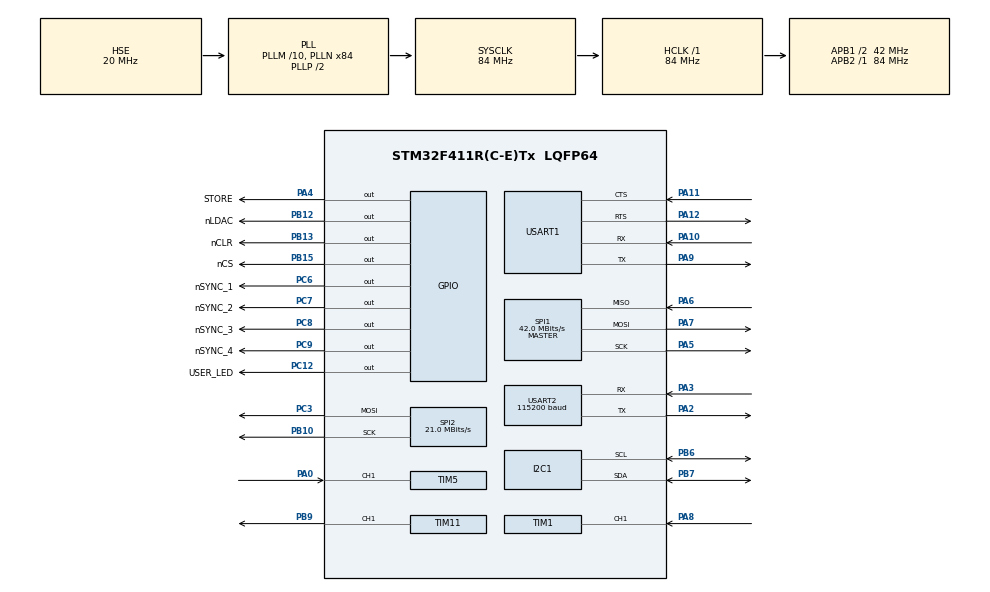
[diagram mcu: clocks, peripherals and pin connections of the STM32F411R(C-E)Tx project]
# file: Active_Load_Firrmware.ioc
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Dma.I2C1_RX.1.Direction=DMA_PERIPH_TO_MEMORY
Dma.I2C1_RX.1.FIFOMode=DMA_FIFOMODE_DISABLE
Dma.I2C1_RX.1.Instance=DMA1_Stream0
Dma.I2C1_RX.1.MemDataAlignment=DMA_MDATAALIGN_BYTE
Dma.I2C1_RX.1.MemInc=DMA_MINC_DISABLE
Dma.I2C1_RX.1.Mode=DMA_CIRCULAR
Dma.I2C1_RX.1.PeriphDataAlignment=DMA_PDATAALIGN_BYTE
Dma.I2C1_RX.1.PeriphInc=DMA_PINC_DISABLE
Dma.I2C1_RX.1.Priority=DMA_PRIORITY_MEDIUM
Dma.Request0=USART2_RX
Dma.Request1=I2C1_RX
Dma.Request2=USART1_RX
Dma.USART1_RX.2.Direction=DMA_PERIPH_TO_MEMORY
Dma.USART1_RX.2.FIFOMode=DMA_FIFOMODE_DISABLE
Dma.USART1_RX.2.Instance=DMA2_Stream2
Dma.USART1_RX.2.MemDataAlignment=DMA_MDATAALIGN_BYTE
Dma.USART1_RX.2.MemInc=DMA_MINC_ENABLE
Dma.USART1_RX.2.Mode=DMA_CIRCULAR
Dma.USART1_RX.2.PeriphDataAlignment=DMA_PDATAALIGN_BYTE
Dma.USART1_RX.2.PeriphInc=DMA_PINC_DISABLE
Dma.USART1_RX.2.Priority=DMA_PRIORITY_VERY_HIGH
Dma.USART2_RX.0.Direction=DMA_PERIPH_TO_MEMORY
Dma.USART2_RX.0.FIFOMode=DMA_FIFOMODE_DISABLE
Dma.USART2_RX.0.Instance=DMA1_Stream5
Dma.USART2_RX.0.MemDataAlignment=DMA_MDATAALIGN_BYTE
Dma.USART2_RX.0.MemInc=DMA_MINC_ENABLE
Dma.USART2_RX.0.Mode=DMA_CIRCULAR
Dma.USART2_RX.0.PeriphDataAlignment=DMA_PDATAALIGN_BYTE
Dma.USART2_RX.0.PeriphInc=DMA_PINC_DISABLE
Dma.USART2_RX.0.Priority=DMA_PRIORITY_VERY_HIGH
Mcu.Family=STM32F4
Mcu.Name=STM32F411R(C-E)Tx
Mcu.Package=LQFP64
NVIC.DMA1_Stream0_IRQn=true\:0\:0\:false\:false\:true
NVIC.DMA1_Stream5_IRQn=true\:0\:0\:false\:false\:true
NVIC.DMA2_Stream2_IRQn=true\:0\:0\:false\:false\:true
NVIC.PriorityGroup=NVIC_PRIORITYGROUP_4
NVIC.TIM1_BRK_TIM9_IRQn=true\:0\:0\:false\:false\:true
PA0-WKUP.Signal=S_TIM5_CH1
PA10.Mode=Asynchronous
PA10.Signal=USART1_RX
PA11.Mode=CTS_RTS
PA11.Signal=USART1_CTS
PA12.Mode=CTS_RTS
PA12.Signal=USART1_RTS
PA13.Mode=Serial_Wire
PA13.Signal=SYS_JTMS-SWDIO
PA14.Mode=Serial_Wire
PA14.Signal=SYS_JTCK-SWCLK
PA2.Mode=Asynchronous
PA2.Signal=USART2_TX
PA3.Mode=Asynchronous
PA3.Signal=USART2_RX
PA4.GPIO_Label=STORE
PA4.GPIO_Speed=GPIO_SPEED_FREQ_MEDIUM
PA4.Signal=GPIO_Output
PA5.Mode=Full_Duplex_Master
PA5.Signal=SPI1_SCK
PA6.Mode=Full_Duplex_Master
PA6.Signal=SPI1_MISO
PA7.Mode=Full_Duplex_Master
PA7.Signal=SPI1_MOSI
PA8.Signal=S_TIM1_CH1
PA9.Mode=Asynchronous
PA9.Signal=USART1_TX
PB10.Mode=TX_Only_Simplex_Unidirect_Master
PB10.Signal=SPI2_SCK
PB12.GPIO_Label=nLDAC
PB12.GPIO_Speed=GPIO_SPEED_FREQ_MEDIUM
PB12.Signal=GPIO_Output
PB13.GPIO_Label=nCLR
PB13.GPIO_Speed=GPIO_SPEED_FREQ_MEDIUM
PB13.Signal=GPIO_Output
PB15.GPIO_Label=nCS
PB15.GPIO_Speed=GPIO_SPEED_FREQ_MEDIUM
PB15.Signal=GPIO_Output
PB6.GPIO_PuPdOD=GPIO_NOPULL
PB6.GPIO_Speed=GPIO_SPEED_FREQ_MEDIUM
PB6.Mode=I2C
PB6.Signal=I2C1_SCL
PB7.GPIO_PuPdOD=GPIO_NOPULL
PB7.GPIO_Speed=GPIO_SPEED_FREQ_MEDIUM
PB7.Mode=I2C
PB7.Signal=I2C1_SDA
PB9.Signal=S_TIM11_CH1
PC12.GPIO_Label=USER_LED
PC12.GPIO_Speed=GPIO_SPEED_FREQ_MEDIUM
PC12.Signal=GPIO_Output
PC3.Mode=TX_Only_Simplex_Unidirect_Master
PC3.Signal=SPI2_MOSI
PC6.GPIO_Label=nSYNC_1
PC6.GPIO_Speed=GPIO_SPEED_FREQ_MEDIUM
PC6.Signal=GPIO_Output
PC7.GPIO_Label=nSYNC_2
PC7.GPIO_Speed=GPIO_SPEED_FREQ_MEDIUM
PC7.Signal=GPIO_Output
PC8.GPIO_Label=nSYNC_3
PC8.GPIO_Speed=GPIO_SPEED_FREQ_MEDIUM
PC8.Signal=GPIO_Output
PC9.GPIO_Label=nSYNC_4
PC9.GPIO_Speed=GPIO_SPEED_FREQ_MEDIUM
PC9.Signal=GPIO_Output
ProjectManager.HeapSize=0x200
ProjectManager.StackSize=0x400
ProjectManager.TargetToolchain=SW4STM32
RCC.48MHZClocksFreq_Value=42000000
RCC.AHBFreq_Value=84000000
RCC.APB1CLKDivider=RCC_HCLK_DIV2
RCC.APB1Freq_Value=42000000
RCC.APB1TimFreq_Value=84000000
RCC.APB2Freq_Value=84000000
RCC.APB2TimFreq_Value=84000000
RCC.CortexFreq_Value=84000000
RCC.HCLKFreq_Value=84000000
RCC.HSE_VALUE=20000000
RCC.HSI_VALUE=16000000
RCC.LSE_VALUE=32768
RCC.PLLM=8
RCC.PLLN=84
RCC.SYSCLKFreq_VALUE=84000000
RCC.SYSCLKSource=RCC_SYSCLKSOURCE_PLLCLK
RCC.VCOOutputFreq_Value=168000000
SH.S_TIM11_CH1.0=TIM11_CH1,PWM Generation1 CH1
SH.S_TIM1_CH1.0=TIM1_CH1,Input_Capture1_from_TI1
SH.S_TIM5_CH1.0=TIM5_CH1,Input_Capture1_from_TI1
SPI1.CalculateBaudRate=42.0 MBits/s
SPI1.Mode=SPI_MODE_MASTER
SPI2.BaudRatePrescaler=SPI_BAUDRATEPRESCALER_2
SPI2.CalculateBaudRate=21.0 MBits/s
SPI2.Mode=SPI_MODE_MASTER
TIM11.Period=64
TIM11.Prescaler=128
TIM11.Pulse=32
TIM9.Period=1999
TIM9.Prescaler=4800
USART2.BaudRate=115200
VP_TIM11_VS_ClockSourceINT.Mode=Enable_Timer
VP_TIM9_VS_ClockSourceINT.Mode=Internal
board=Active_Load_Firrmware

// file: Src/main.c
/**
  ******************************************************************************
  * File Name          : main.c
  * Description        : Main program body
  ******************************************************************************
  *
  * COPYRIGHT(c) 2016 STMicroelectronics
  *
  * Redistribution and use in source and binary forms, with or without modification,
  * are permitted provided that the following conditions are met:
  *   1. Redistributions of source code must retain the above copyright notice,
  *      this list of conditions and the following disclaimer.
  *   2. Redistributions in binary form must reproduce the above copyright notice,
  *      this list of conditions and the following disclaimer in the documentation
  *      and/or other materials provided with the distribution.
  *   3. Neither the name of STMicroelectronics nor the names of its contributors
  *      may be used to endorse or promote products derived from this software
  *      without specific prior written permission.
  *
  * THIS SOFTWARE IS PROVIDED BY THE COPYRIGHT HOLDERS AND CONTRIBUTORS "AS IS"
  * AND ANY EXPRESS OR IMPLIED WARRANTIES, INCLUDING, BUT NOT LIMITED TO, THE
  * IMPLIED WARRANTIES OF MERCHANTABILITY AND FITNESS FOR A PARTICULAR PURPOSE ARE
  * DISCLAIMED. IN NO EVENT SHALL THE COPYRIGHT HOLDER OR CONTRIBUTORS BE LIABLE
  * FOR ANY DIRECT, INDIRECT, INCIDENTAL, SPECIAL, EXEMPLARY, OR CONSEQUENTIAL
  * DAMAGES (INCLUDING, BUT NOT LIMITED TO, PROCUREMENT OF SUBSTITUTE GOODS OR
  * SERVICES; LOSS OF USE, DATA, OR PROFITS; OR BUSINESS INTERRUPTION) HOWEVER
  * CAUSED AND ON ANY THEORY OF LIABILITY, WHETHER IN CONTRACT, STRICT LIABILITY,
  * OR TORT (INCLUDING NEGLIGENCE OR OTHERWISE) ARISING IN ANY WAY OUT OF THE USE
  * OF THIS SOFTWARE, EVEN IF ADVISED OF THE POSSIBILITY OF SUCH DAMAGE.
  *
  ******************************************************************************
  */
#include "stm32f4xx_hal.h"
#include "dma.h"
#include "i2c.h"
#include "spi.h"
#include "tim.h"
#include "usart.h"
#include "gpio.h"

/* USER CODE BEGIN PV */
/* Private variables ---------------------------------------------------------*/

volatile uint32_t cycle_count = 0;
volatile uint8_t _10m_flag = 0;
volatile uint8_t _100m_flag = 0;
volatile uint8_t _1s_flag = 0;
volatile uint8_t received_command[3] = {0, 0, 0};
volatile uint8_t data_rdy = 0;

typedef enum sys_state{
	RUN,
	SETUP,
	LOST
} sys_state;

/* UART COMMANDS BEGIN */

enum UartCommProtocol{
	UART_COM_SYS_HANDSHAKE = 0x01,
	UART_COM_SYS_RESET = 0x02,
	UART_COM_TMPREAD = 0x03,
	UART_COM_SET_ACTIVE_CHANNELS = 0x04,
	UART_COM_SET_RELAY = 0x05,
	UART_COM_SET_VOLT_RANGE = 0x06,
	UART_COM_START_LOAD = 0x07,
	UART_COM_STOP_LOAD = 0x08,

	UART_COM_SET_CUR_ALL = 0x10,
	UART_COM_SET_CUR_CH_1 = 0x11,
	UART_COM_SET_CUR_CH_2 = 0x12,
	UART_COM_SET_CUR_CH_3 = 0x13,
	UART_COM_SET_CUR_CH_4 = 0x14,
	UART_COM_SET_CUR_CH_5 = 0x15,
	UART_COM_SET_CUR_CH_6 = 0x16,
	UART_COM_SET_CUR_CH_7 = 0x17,
	UART_COM_SET_CUR_CH_8 = 0x18,

	UART_COM_WRITE_EEPROM_P1 = 0x21,
	UART_COM_WRITE_EEPROM_P2 = 0x22,
	UART_COM_WRITE_EEPROM_P3 = 0x23,
	UART_COM_WRITE_EEPROM_P4 = 0x24,
	UART_COM_WRITE_EEPROM_P5 = 0x25,
	UART_COM_WRITE_EEPROM_P6 = 0x26,
	UART_COM_WRITE_EEPROM_P7 = 0x27,
	UART_COM_WRITE_EEPROM_P8 = 0x28,

	UART_COM_READ_EEPROM_P1 = 0x31,
	UART_COM_READ_EEPROM_P2 = 0x32,
	UART_COM_READ_EEPROM_P3 = 0x33,
	UART_COM_READ_EEPROM_P4 = 0x34,
	UART_COM_READ_EEPROM_P5 = 0x35,
	UART_COM_READ_EEPROM_P6 = 0x36,
	UART_COM_READ_EEPROM_P7 = 0x37,
	UART_COM_READ_EEPROM_P8 = 0x38,

	UART_COM_READ_VOLT_ACTIVE_CHANNELS = 0x40,
	UART_COM_READ_VOLT_CH_1 = 0x41,
	UART_COM_READ_VOLT_CH_2 = 0x42,
	UART_COM_READ_VOLT_CH_3 = 0x43,
	UART_COM_READ_VOLT_CH_4 = 0x44,
	UART_COM_READ_VOLT_CH_5 = 0x45,
	UART_COM_READ_VOLT_CH_6 = 0x46,
	UART_COM_READ_VOLT_CH_7 = 0x47,
	UART_COM_READ_VOLT_CH_8 = 0x48

};

/* UART COMMANDS END */

#define COMM_TIMEOUT 5000
#define COMM_STIMEOUT 1

#define TC74A0_ADDRESS 0x90
#define TC74_TEMP_LOC 0x00

#define TEMP_LIMIT 120

#define FAN_CONTROL_CONST 0.01

enum EEPROM_P_ADDRESS{
	EEPROM_PAGE_1 = 0xA0, // SYSTEM INFO
	EEPROM_PAGE_2 = 0xA1, // CURRENT CALIBRATION DATA
	EEPROM_PAGE_3 = 0xA2, // VOLTAGE CALIBRATION DATA?
	EEPROM_PAGE_4 = 0xA3, // ERROR LOG?
	EEPROM_PAGE_5 = 0xA4,
	EEPROM_PAGE_6 = 0xA5,
	EEPROM_PAGE_7 = 0xA6,
	EEPROM_PAGE_8 = 0xA7
};

/* USER CODE END PV */

void SystemClock_Config(void);
void Error_Handler(void);

/* USER CODE BEGIN PFP */
/* Private function prototypes -----------------------------------------------*/

/* USER CODE END PFP */

/* USER CODE BEGIN 0 */

/*
void HAL_TIM_PeriodElapsedCallback(TIM_HandleTypeDef *htim){
}
*/

void HAL_SYSTICK_Callback(){
	cycle_count+=1;
	if(!(cycle_count%1000)){
		_1s_flag = 1;
		cycle_count = 0;
	}
}

void HAL_UART_RxCpltCallback(UART_HandleTypeDef *huart){
	data_rdy = 1;
}

void HAL_I2C_MasterRxCpltCallback(I2C_HandleTypeDef *hi2c){
}

void ChangeSPI2_CLK_edge_NEG(){
	hspi2.Instance = SPI2;
	hspi2.Init.Mode = SPI_MODE_MASTER;
	hspi2.Init.Direction = SPI_DIRECTION_2LINES;
	hspi2.Init.DataSize = SPI_DATASIZE_8BIT;
	hspi2.Init.CLKPolarity = SPI_POLARITY_LOW;
	hspi2.Init.CLKPhase = SPI_PHASE_2EDGE;
	hspi2.Init.NSS = SPI_NSS_SOFT;
	hspi2.Init.BaudRatePrescaler = SPI_BAUDRATEPRESCALER_8;
	hspi2.Init.FirstBit = SPI_FIRSTBIT_MSB;
	hspi2.Init.TIMode = SPI_TIMODE_DISABLE;
	hspi2.Init.CRCCalculation = SPI_CRCCALCULATION_DISABLE;
	hspi2.Init.CRCPolynomial = 10;
	if (HAL_SPI_Init(&hspi2) != HAL_OK)
	{
	  Error_Handler();
	}
}

void ChangeSPI2_CLK_edge_POS(){
	hspi2.Instance = SPI2;
	hspi2.Init.Mode = SPI_MODE_MASTER;
	hspi2.Init.Direction = SPI_DIRECTION_2LINES;
	hspi2.Init.DataSize = SPI_DATASIZE_8BIT;
	hspi2.Init.CLKPolarity = SPI_POLARITY_LOW;
	hspi2.Init.CLKPhase = SPI_PHASE_1EDGE;
	hspi2.Init.NSS = SPI_NSS_SOFT;
	hspi2.Init.BaudRatePrescaler = SPI_BAUDRATEPRESCALER_8;
	hspi2.Init.FirstBit = SPI_FIRSTBIT_MSB;
	hspi2.Init.TIMode = SPI_TIMODE_DISABLE;
	hspi2.Init.CRCCalculation = SPI_CRCCALCULATION_DISABLE;
	hspi2.Init.CRCPolynomial = 10;
	if (HAL_SPI_Init(&hspi2) != HAL_OK)
	{
	  Error_Handler();
	}
}

void SetFanSpeed(uint8_t heatsink_temp, uint16_t rpm_fan1){
	int16_t delta_duty;
	uint16_t target_rpm;
	int16_t current_duty = __HAL_TIM_GET_COMPARE(&htim11, TIM_CHANNEL_1);
	target_rpm = heatsink_temp*19+2100;										//SETTING TARGET RPM  20...127 °C -> 2500->4500 1/min
	delta_duty = (int16_t)(rpm_fan1 - target_rpm)*FAN_CONTROL_CONST;
	current_duty += delta_duty;
	if((current_duty) < 0)
	{
		current_duty = 0;
	}else{
		if((current_duty) > 64){
			current_duty = 64;
		}
	}
	__HAL_TIM_SET_COMPARE(&htim11, TIM_CHANNEL_1, current_duty);
}

void OverTempProt(uint8_t *heatsink_temp, sys_state *state){

	uint8_t error_number;
	uint8_t errorlog[4];

	*state = LOST;
	HAL_I2C_Mem_Read(&hi2c1, EEPROM_PAGE_4, 0, 1, &error_number, 1, COMM_TIMEOUT);
	if(error_number < 254){
		errorlog[0]='T';
		errorlog[1]='M';
		errorlog[2]='P';
		errorlog[3]=*heatsink_temp;

		HAL_I2C_Mem_Write(&hi2c1, EEPROM_PAGE_4, error_number + 1, 1, &errorlog, 4, COMM_TIMEOUT);
		error_number += 1;
		HAL_I2C_Mem_Write(&hi2c1, EEPROM_PAGE_4, 0, 1, &error_number, 1, COMM_TIMEOUT);
	}
}

void FanStuckProt(uint16_t *rpm_fan1, uint16_t *rpm_fan2, sys_state *state){
	uint8_t error_number;
	uint8_t errorlog[4];

	*state = LOST;
	HAL_I2C_Mem_Read(&hi2c1, EEPROM_PAGE_4, 0, 1, &error_number, 1, COMM_TIMEOUT);
	if(error_number < 254){
		errorlog[0]='F';
		errorlog[1]='N';
		if(*rpm_fan1 <= 100){
			errorlog[2]='1';
			errorlog[3]=*rpm_fan1;
		}else{
			errorlog[2]='2';
			errorlog[3]=*rpm_fan2;
		}

		HAL_I2C_Mem_Write(&hi2c1, EEPROM_PAGE_4, error_number + 1, 1, &errorlog, 4, COMM_TIMEOUT);
		error_number += 1;
		HAL_I2C_Mem_Write(&hi2c1, EEPROM_PAGE_4, 0, 1, &error_number, 1, COMM_TIMEOUT);
	}

}

void SendShiftReg(uint16_t *shift_reg_data){
	ChangeSPI2_CLK_edge_POS();
	HAL_SPI_Transmit(&hspi2, shift_reg_data, 2, COMM_TIMEOUT);
	HAL_GPIO_TogglePin(STORE_GPIO_Port, STORE_Pin);
	HAL_GPIO_TogglePin(STORE_GPIO_Port, STORE_Pin);
	ChangeSPI2_CLK_edge_NEG();
}

void ConfADC(uint8_t active_channels){
	uint16_t control_register = 0b1000000000000100 | (active_channels << 6);  // single read, external ref, no temp sensor
	HAL_GPIO_WritePin(nCS_GPIO_Port, nCS_Pin, GPIO_PIN_RESET);
	HAL_SPI_Transmit(&hspi1, &control_register, 1, COMM_TIMEOUT);
	HAL_GPIO_WritePin(nCS_GPIO_Port, nCS_Pin, GPIO_PIN_SET);
	control_register = 0x0000;
	HAL_GPIO_WritePin(nCS_GPIO_Port, nCS_Pin, GPIO_PIN_RESET);
	HAL_SPI_Transmit(&hspi1, &control_register, 1, COMM_TIMEOUT);		//first conversion, dummy message
	HAL_GPIO_WritePin(nCS_GPIO_Port, nCS_Pin, GPIO_PIN_SET);
}

void SetDAC(uint8_t dac_ch_number, uint8_t current_code_1, uint8_t current_code_2, uint16_t nSync){
	uint16_t current_code;
	uint8_t extref_setup[3];
	uint8_t dac_msg[3] = { 0 }; 					//24 bits
	extref_setup[0] = 0b00111111;
	extref_setup[1] = 0b00000000;
	extref_setup[2] = 0b00000000;

	HAL_Delay(5); //TEST

	HAL_GPIO_WritePin(nSYNC_1_GPIO_Port, nSync, GPIO_PIN_RESET);

	HAL_Delay(5); //TEST

	HAL_SPI_Transmit(&hspi2, extref_setup, 3, COMM_TIMEOUT);

	HAL_Delay(5); //TEST

	HAL_GPIO_WritePin(nSYNC_1_GPIO_Port, nSync, GPIO_PIN_SET);

	HAL_Delay(5); //TEST

	current_code = ((current_code_1 << 8) | current_code_2);
	dac_msg[0] = dac_ch_number & 0x01;
	dac_msg[1] = ((current_code & 0x0FF0) >> 4);		//extract higher 8 bit
	dac_msg[2] = ((current_code & 0x000F) << 4);		//extract lower 4 bit

	HAL_Delay(10); //TEST

	HAL_GPIO_WritePin(nSYNC_1_GPIO_Port, nSync, GPIO_PIN_RESET);
	HAL_SPI_Transmit(&hspi2, dac_msg, 3, COMM_TIMEOUT);
	HAL_GPIO_WritePin(nSYNC_1_GPIO_Port, nSync, GPIO_PIN_SET);

	HAL_Delay(10); //TEST
}

void UpdateDAC(){
	HAL_GPIO_WritePin(nLDAC_GPIO_Port, nLDAC_Pin, GPIO_PIN_RESET);
	//10ns minimum
	HAL_GPIO_WritePin(nLDAC_GPIO_Port, nLDAC_Pin, GPIO_PIN_SET);
}

void ClearDAC(){
	HAL_GPIO_WritePin(nCLR_GPIO_Port, nCLR_Pin, GPIO_PIN_RESET);
	//5ns minimum
	HAL_GPIO_WritePin(nCLR_GPIO_Port, nCLR_Pin, GPIO_PIN_SET);
}

/* USER CODE END 0 */

int main(void)
{

  /* USER CODE BEGIN 1 */
		sys_state state = SETUP;
		uint8_t heatsink_temp = 0;
		uint16_t rpm_fan1 = 0;
		uint16_t rpm_fan2 = 0;

		uint16_t shift_reg_data = 0;
		uint8_t active_channels = 0;
		uint8_t i = 0;

		uint16_t adc_result = 0;
		uint8_t adc_com_buffer = 0;

		uint8_t eeprom_buffer[32] = {0, 0, 0, 0, 0, 0, 0, 0, 0, 0, 0, 0, 0, 0, 0, 0, 0, 0, 0, 0, 0, 0, 0, 0, 0, 0, 0, 0, 0, 0, 0, 0};
	//	uint16_t eeprom_values_dev[16] = {0, 0, 0, 0, 0, 0, 0, 0, 0x0FFF, 0x0FFF, 0x0FFF, 0x0FFF, 0x0FFF, 0x0FFF, 0x0FFF, 0x0FFF};

		/*	Calibration data: contains 12bit codes that are closest to 0 and 2A outputs */
		uint16_t calib_channel_code_2A[8] ={0, 0, 0, 0, 0, 0, 0, 0};
		uint16_t calib_channel_code_0A[8] ={0, 0, 0, 0, 0, 0, 0, 0};

  /* USER CODE END 1 */

  /* MCU Configuration----------------------------------------------------------*/

  /* Reset of all peripherals, Initializes the Flash interface and the Systick. */
  HAL_Init();

  /* Configure the system clock */
  SystemClock_Config();

  /* Initialize all configured peripherals */
  MX_GPIO_Init();
  MX_DMA_Init();
  MX_I2C1_Init();
  MX_SPI1_Init();
  MX_SPI2_Init();
  MX_TIM1_Init();
  MX_TIM5_Init();
  MX_TIM9_Init();
  MX_TIM11_Init();
  MX_USART1_UART_Init();
  MX_USART2_UART_Init();

  /* USER CODE BEGIN 2 */
  SendShiftReg(&shift_reg_data);

  while(received_command[0] != UART_COM_SYS_HANDSHAKE){
      	  HAL_UART_Receive(&huart1, &received_command, 1, COMM_TIMEOUT);
        }

        /* SEND SYSTEM INFO BEGINS */
        HAL_UART_Transmit(&huart1, &received_command, 1, COMM_TIMEOUT);

        /* SEND SYSTEM INFO ENDS */
      HAL_TIM_PWM_Start(&htim11, TIM_CHANNEL_1);

      HAL_TIM_Base_Start(&htim1);
      HAL_TIM_Base_Start(&htim5);

  	  HAL_UART_Receive_DMA(&huart1, &received_command, 3);

  	  /*LOAD CALIBRATION DATA BEGINS*/

  	  /*  Loading data to EEPROM - DEV ONLY
  	   * 	  	HAL_I2C_Mem_Write(&hi2c1, EEPROM_PAGE_2, 0, 1, eeprom_values_dev, 16, COMM_TIMEOUT);
  	   *		HAL_Delay(5);
  	   *	  	HAL_I2C_Mem_Write(&hi2c1, EEPROM_PAGE_2, 16, 1, &eeprom_values_dev[8], 16, COMM_TIMEOUT);
  	   *	 	HAL_Delay(5);
  	   */

  	  HAL_I2C_Mem_Read(&hi2c1, EEPROM_PAGE_2, 0, 1, calib_channel_code_0A, 16, COMM_TIMEOUT);
  	  HAL_I2C_Mem_Read(&hi2c1, EEPROM_PAGE_2, 16, 1, calib_channel_code_2A, 16, COMM_TIMEOUT);
//  	  HAL_UART_Transmit(&huart2, calib_channel_code_0A, 16, COMM_TIMEOUT);
// 	  HAL_UART_Transmit(&huart2, calib_channel_code_2A, 16, COMM_TIMEOUT);
  	  HAL_GPIO_WritePin(nSYNC_1_GPIO_Port, nSYNC_1_Pin, GPIO_PIN_SET);
  	  HAL_GPIO_WritePin(nSYNC_2_GPIO_Port, nSYNC_2_Pin, GPIO_PIN_SET);
  	  HAL_GPIO_WritePin(nSYNC_3_GPIO_Port, nSYNC_3_Pin, GPIO_PIN_SET);
  	  HAL_GPIO_WritePin(nSYNC_4_GPIO_Port, nSYNC_4_Pin, GPIO_PIN_SET);
  	  HAL_GPIO_WritePin(nLDAC_GPIO_Port, nLDAC_Pin, GPIO_PIN_SET);
  	  HAL_GPIO_WritePin(nCLR_GPIO_Port, nCLR_Pin, GPIO_PIN_SET);
  	  HAL_GPIO_WritePin(nCS_GPIO_Port, nCS_Pin, GPIO_PIN_SET);
  	  HAL_Delay(100);

  	  /*READ CALIBRATION DATA ENDS*/
  /* USER CODE END 2 */

  /* Infinite loop */
  while (1)
  {

  /* USER CODE BEGIN 3 */
switch(state){
	  case SETUP:
		  if(data_rdy){
//			  HAL_UART_Transmit(&huart2, &received_command, 3, COMM_TIMEOUT);
			  switch(received_command[0]){

			  case UART_COM_TMPREAD:
				  HAL_UART_Transmit(&huart1, &heatsink_temp, 1, COMM_TIMEOUT);
				  break;

			  case UART_COM_SYS_RESET:
				  HAL_NVIC_SystemReset();
				  break;

			  case UART_COM_SET_ACTIVE_CHANNELS:
				  active_channels = received_command[1];
				  break;

			  case UART_COM_SET_RELAY:
				  shift_reg_data &= 0xFF00;
				  shift_reg_data |= received_command[1];
				  SendShiftReg(&shift_reg_data);
				  break;

			  case UART_COM_SET_VOLT_RANGE:
				  shift_reg_data &= 0x00FF;
				  shift_reg_data |= (received_command[1] << 8);
				  SendShiftReg(&shift_reg_data);
				  break;

			  case UART_COM_READ_EEPROM_P2:
			  	  HAL_I2C_Mem_Read(&hi2c1, EEPROM_PAGE_1, 0, 1, eeprom_buffer, 32, COMM_TIMEOUT);
			  	  HAL_UART_Transmit(&huart1, eeprom_buffer, 32, COMM_TIMEOUT);
				  break;

			  case UART_COM_WRITE_EEPROM_P2:
				  HAL_I2C_Mem_Write(&hi2c1, EEPROM_PAGE_2, received_command[1], 1, &received_command[2], 1, COMM_TIMEOUT);
				  break;

			  case	UART_COM_SET_CUR_CH_1:
				  SetDAC(0x01, received_command[1], received_command[2], nSYNC_1_Pin);
				  break;

			  case	UART_COM_SET_CUR_CH_2:
				  SetDAC(0x00, received_command[1], received_command[2], nSYNC_1_Pin);
				  break;

			  case	UART_COM_SET_CUR_CH_3:
				  SetDAC(0x01, received_command[1], received_command[2], nSYNC_2_Pin);
				  break;

			  case	UART_COM_SET_CUR_CH_4:
				  SetDAC(0x00, received_command[1], received_command[2], nSYNC_2_Pin);
				  break;

			  case	UART_COM_SET_CUR_CH_5:
				  SetDAC(0x01, received_command[1], received_command[2], nSYNC_3_Pin);
				  break;

			  case	UART_COM_SET_CUR_CH_6:
				  SetDAC(0x00, received_command[1], received_command[2], nSYNC_3_Pin);
				  break;

			  case	UART_COM_SET_CUR_CH_7:
				  SetDAC(0x01, received_command[1], received_command[2], nSYNC_4_Pin);
				  break;

			  case	UART_COM_SET_CUR_CH_8:
				  SetDAC(0x00, received_command[1], received_command[2], nSYNC_4_Pin);
				  break;

			  case UART_COM_START_LOAD:
				  state = RUN;

				  UpdateDAC();

				  break;

			  default:

				  break;
			  }
			  data_rdy = 0;
		  }
		  break;
	  case RUN:
		  if(data_rdy){
			  switch(received_command[0]){

			  case UART_COM_TMPREAD:
				  HAL_UART_Transmit(&huart1, &heatsink_temp, 1, COMM_TIMEOUT);
				  break;

			  case UART_COM_SYS_RESET:
				  HAL_NVIC_SystemReset();
				  break;

			  case UART_COM_STOP_LOAD:

				  ClearDAC();

				  state = SETUP;
				  break;

			  case UART_COM_READ_VOLT_ACTIVE_CHANNELS:
				  ConfADC(active_channels);
				  for(i = 0; i < 8; i++){
					  if(active_channels & (1 << i)){
						  HAL_GPIO_WritePin(nCS_GPIO_Port, nCS_Pin, GPIO_PIN_RESET);
						  HAL_SPI_Receive(&hspi1, &adc_result, 1, COMM_TIMEOUT);
						  HAL_GPIO_WritePin(nCS_GPIO_Port, nCS_Pin, GPIO_PIN_SET);
						  adc_result = adc_result & 0x0FFF;
						  adc_com_buffer = ((adc_result & 0xFF00) >> 8);
						  HAL_UART_Transmit(&huart1, &adc_com_buffer, 1, COMM_TIMEOUT);
						  adc_com_buffer = (adc_result & 0x00FF);
						  HAL_UART_Transmit(&huart1, &adc_com_buffer, 1, COMM_TIMEOUT);
					  }
				  }
				  break;
			  }

			  data_rdy = 0;
		  }

		  break;

	  case LOST:
		  //going to safe state, signaling error
		  ClearDAC();
		  HAL_NVIC_SystemReset();

		  break;
	  default:
		  break;
	  }

	  if(_1s_flag == 1){
		  //1S TASKS BEGIN
		  HAL_I2C_Mem_Read_DMA(&hi2c1, TC74A0_ADDRESS, TC74_TEMP_LOC, 1, &heatsink_temp, 1);
		  rpm_fan1 = __HAL_TIM_GetCounter(&htim1)/2*60;
		  rpm_fan2 = __HAL_TIM_GetCounter(&htim5)/2*60;
		  __HAL_TIM_SET_COUNTER(&htim1,0);
		  __HAL_TIM_SET_COUNTER(&htim5,0);
		  SetFanSpeed(heatsink_temp, rpm_fan1);

		  if(heatsink_temp > TEMP_LIMIT){
			  OverTempProt(&heatsink_temp, &state);
		  }
		  if(rpm_fan1 <= 100 || rpm_fan2 <= 100){
			  FanStuckProt(&rpm_fan1, &rpm_fan2, &state);
		  }

		  HAL_GPIO_TogglePin(USER_LED_GPIO_Port, USER_LED_Pin);

		  //1S TASKS END
		  _1s_flag = 0;
	  }
  }
  /* USER CODE END 3 */

}

/** System Clock Configuration
*/
void SystemClock_Config(void)
{

  RCC_OscInitTypeDef RCC_OscInitStruct;
  RCC_ClkInitTypeDef RCC_ClkInitStruct;

  __HAL_RCC_PWR_CLK_ENABLE();

  __HAL_PWR_VOLTAGESCALING_CONFIG(PWR_REGULATOR_VOLTAGE_SCALE1);

  RCC_OscInitStruct.OscillatorType = RCC_OSCILLATORTYPE_HSE;
  RCC_OscInitStruct.HSEState = RCC_HSE_ON;
  RCC_OscInitStruct.PLL.PLLState = RCC_PLL_ON;
  RCC_OscInitStruct.PLL.PLLSource = RCC_PLLSOURCE_HSE;
  RCC_OscInitStruct.PLL.PLLM = 10;
  RCC_OscInitStruct.PLL.PLLN = 84;
  RCC_OscInitStruct.PLL.PLLP = RCC_PLLP_DIV2;
  RCC_OscInitStruct.PLL.PLLQ = 4;
  if (HAL_RCC_OscConfig(&RCC_OscInitStruct) != HAL_OK)
  {
    Error_Handler();
  }

  RCC_ClkInitStruct.ClockType = RCC_CLOCKTYPE_HCLK|RCC_CLOCKTYPE_SYSCLK
                              |RCC_CLOCKTYPE_PCLK1|RCC_CLOCKTYPE_PCLK2;
  RCC_ClkInitStruct.SYSCLKSource = RCC_SYSCLKSOURCE_PLLCLK;
  RCC_ClkInitStruct.AHBCLKDivider = RCC_SYSCLK_DIV1;
  RCC_ClkInitStruct.APB1CLKDivider = RCC_HCLK_DIV2;
  RCC_ClkInitStruct.APB2CLKDivider = RCC_HCLK_DIV1;
  if (HAL_RCC_ClockConfig(&RCC_ClkInitStruct, FLASH_LATENCY_2) != HAL_OK)
  {
    Error_Handler();
  }

  HAL_SYSTICK_Config(HAL_RCC_GetHCLKFreq()/1000);

  HAL_SYSTICK_CLKSourceConfig(SYSTICK_CLKSOURCE_HCLK);

  /* SysTick_IRQn interrupt configuration */
  HAL_NVIC_SetPriority(SysTick_IRQn, 0, 0);
}

void Error_Handler(void)
{
  while(1)
  {
  }
}

/************************ (C) COPYRIGHT STMicroelectronics *****END OF FILE****/
